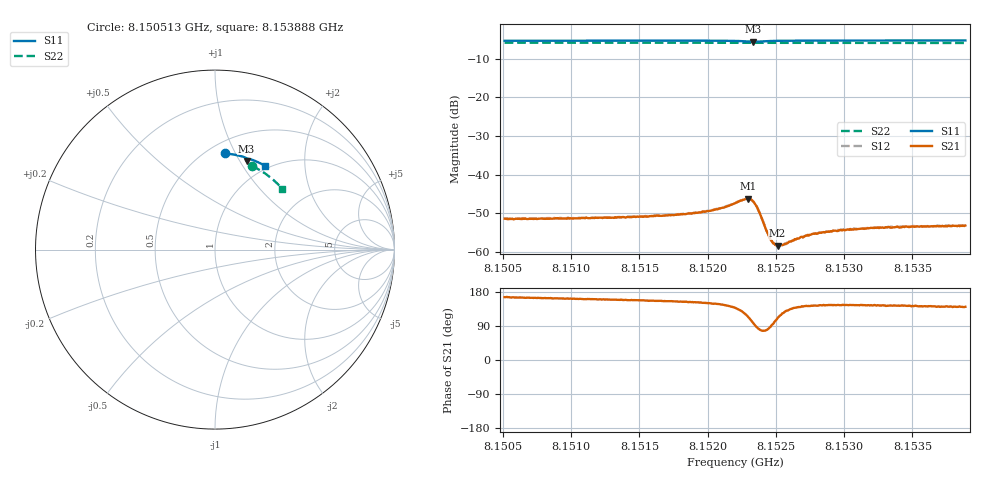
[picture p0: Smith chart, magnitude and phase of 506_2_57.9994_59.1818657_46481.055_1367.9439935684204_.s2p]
#  HZ  S  RI  R  50.00
! Rohde & Schwarz Vector Network Analyzer
! Rohde-Schwarz,ZNB20-2Port,1311601062101988,3.16
! Created: UTC 3/21/2024, 1:12:59 AM
! freq[Hz]  re:S11  im:S11  re:S21  im:S21  re:S12  im:S12  re:S22  im:S22
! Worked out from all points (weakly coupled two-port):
!   401 points, 8.150513 GHz to 8.153888 GHz, reference 50 ohm
!   highest |S21| = -46.29 dB at 8.152293 GHz (marker M1); lowest = -58.4 dB at 8.152513 GHz (marker M2)
!   lowest |S11| = -5.6 dB at 8.152335 GHz (marker M3), VSWR 3.20, Z = 39.3 + j53.5 ohm
!   |S11| at or under -10 dB: nowhere
!   |S22| runs from -5.9 to -5.9 dB; largest |S21 - S12| = 0.0001
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8.150513e9  0.0582 0.5357  -0.0026 0.000655  -0.0026 0.000719  0.2065 0.4659
8.1510782e9  0.0975 0.5308  -0.00259 0.000895  -0.00258 0.000942  0.2388 0.4494
8.1516435e9  0.1368 0.5228  -0.00266 0.00119  -0.00269 0.00124  0.2696 0.4306
8.1518882e9  0.1541 0.5181  -0.0028 0.00143  -0.00281 0.00145  0.2824 0.4217
8.1519979e9  0.1621 0.5153  -0.00291 0.00167  -0.0029 0.00172  0.2882 0.4176
8.152116e9  0.1713 0.5113  -0.00308 0.0021  -0.0031 0.00218  0.2943 0.4132
8.1522003e9  0.178 0.5063  -0.00316 0.00284  -0.00317 0.00291  0.2986 0.4098
8.1522594e9  0.1812 0.5003  -0.00276 0.00381  -0.00276 0.00384  0.3013 0.4072
8.1522931e9  0.1805 0.4961  -0.00206 0.00439  -0.00202 0.00448  0.3029 0.4059
8.1523185e9  0.1783 0.4939  -0.00115 0.00457  -0.00113 0.00463  0.3039 0.4049
8.1523353e9  0.1761 0.4937  -0.000521 0.00442  -0.00045 0.00445  0.3048 0.4042
8.1523691e9  0.1729 0.4963  0.000403 0.00351  0.000456 0.00355  0.3062 0.4033
8.1524366e9  0.1762 0.5034  0.00031 0.00177  0.000303 0.00176  0.3096 0.4009
8.1524619e9  0.1789 0.5044  4.8e-05 0.00143  8.23e-05 0.00142  0.3109 0.4
8.1524872e9  0.1814 0.5052  -0.000209 0.00126  -0.000196 0.00127  0.3124 0.399
8.1525125e9  0.1839 0.5053  -0.000426 0.00112  -0.000406 0.00113  0.3136 0.3979
8.1525547e9  0.1878 0.5053  -0.000689 0.00102  -0.000698 0.00101  0.3157 0.3962
8.1526728e9  0.1978 0.5033  -0.00115 0.000968  -0.00116 0.000983  0.3217 0.3912
8.1527656e9  0.2046 0.5011  -0.00136 0.00102  -0.00137 0.00102  0.3259 0.3875
8.1529597e9  0.2183 0.4962  -0.00155 0.00107  -0.00156 0.0011  0.3351 0.3791
8.1533309e9  0.2425 0.4857  -0.00168 0.00123  -0.00166 0.00124  0.352 0.3629
8.1538877e9  0.277 0.4679  -0.00168 0.00139  -0.00168 0.00142  0.3755 0.3369
